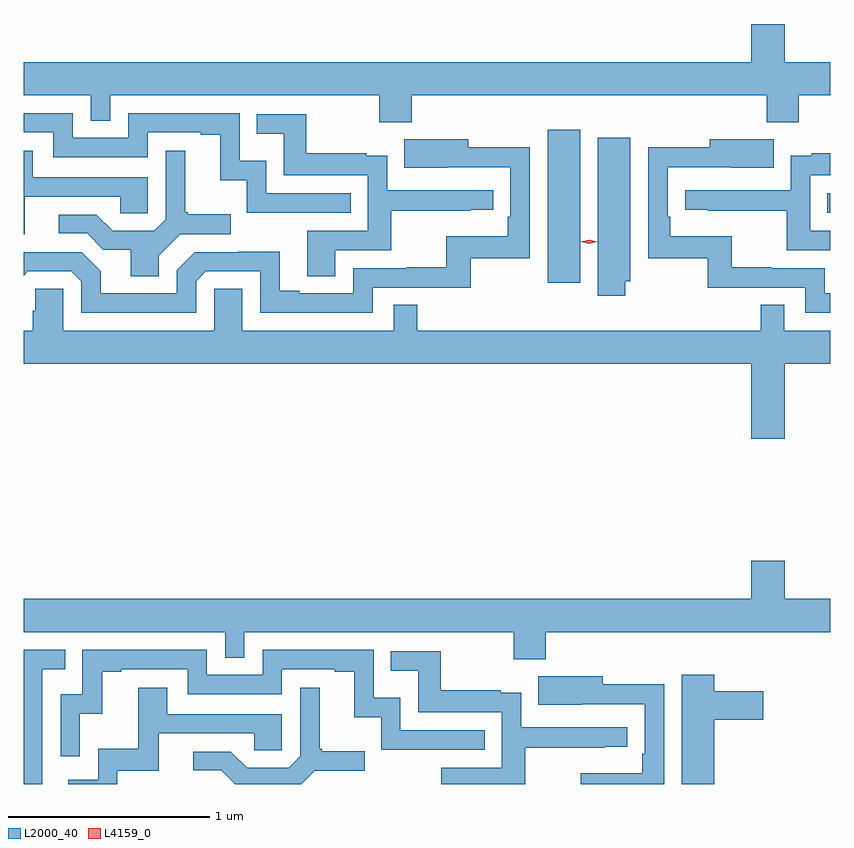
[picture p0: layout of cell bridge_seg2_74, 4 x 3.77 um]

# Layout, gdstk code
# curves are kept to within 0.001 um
import gdstk
lib = gdstk.Library(unit=1e-6, precision=1e-09)
def R(c, l, rs):  # rectangles x0, y0, x1, y1
    for r in rs: c.add(gdstk.rectangle(r[:2], r[2:], *l))
def P(c, l, *ps):  # polygons
    for p in ps: c.add(gdstk.Polygon(p, *l))
L2000_40 = (2000, 40)
L4159_0 = (4159, 0)

bridge_seg2_74 = lib.new_cell('bridge_seg2_74')
R(bridge_seg2_74, L2000_40, [(1135.025,624.06,1135.186,624.82), (1136.413,624.408,1136.426,624.504)])
P(bridge_seg2_74, L2000_40, [(1134.35,624.992),(1136.111,624.992),(1136.111,624.857),(1136.271,624.857),(1136.271,624.992),(1136.426,624.992),(1136.426,625.156),(1136.2,625.156),(1136.2,625.345),(1136.036,625.345),(1136.036,625.156),(1132.426,625.156),(1132.426,624.992),(1132.758,624.992),(1132.758,624.865),(1132.854,624.865),(1132.854,624.992),(1134.19,624.992),(1134.19,624.857),(1134.35,624.857)],
  [(1134.047,624.504),(1133.628,624.504),(1133.628,624.667),(1133.496,624.667),(1133.496,624.903),(1132.944,624.903),(1132.944,624.78),(1132.668,624.78),(1132.668,624.903),(1132.426,624.903),(1132.426,624.807),(1132.572,624.807),(1132.572,624.684),(1133.04,624.684),(1133.04,624.807),(1133.303,624.807),(1133.303,624.795),(1133.399,624.795),(1133.399,624.569),(1133.532,624.569),(1133.532,624.408),(1134.047,624.408)],
  [(1133.971,624.222),(1134.248,624.222),(1134.248,624.418),(1134.641,624.418),(1134.641,624.423),(1134.754,624.423),(1134.754,624.519),(1134.228,624.519),(1134.228,624.691),(1134.125,624.691),(1134.125,624.703),(1133.827,624.703),(1133.827,624.897),(1133.581,624.897),(1133.581,624.8),(1133.716,624.8),(1133.716,624.594),(1134.132,624.594),(1134.132,624.318),(1133.831,624.318),(1133.831,624.094),(1133.971,624.094)],
  [(1135.41,624.068),(1135.435,624.068),(1135.435,624.781),(1135.274,624.781),(1135.274,623.996),(1135.41,623.996)],
  [(1133.28,624.069),(1133.328,624.117),(1133.598,624.117),(1133.598,623.913),(1134.156,623.913),(1134.156,624.036),(1134.643,624.036),(1134.643,624.183),(1134.936,624.183),(1134.936,624.734),(1134.631,624.734),(1134.631,624.772),(1134.313,624.772),(1134.313,624.632),(1134.84,624.633),(1134.84,624.388),(1134.827,624.388),(1134.827,624.292),(1134.522,624.292),(1134.522,624.137),(1134.325,624.137),(1134.325,624.132),(1134.06,624.132),(1134.06,624.009),(1133.791,624.009),(1133.791,624.022),(1133.695,624.022),(1133.695,624.215),(1133.49,624.215),(1133.49,624.213),(1133.274,624.213),(1133.184,624.123),(1133.184,624.009),(1132.807,624.009),(1132.807,624.119),(1132.713,624.213),(1132.426,624.213),(1132.426,624.097),(1132.446,624.117),(1132.662,624.117),(1132.71,624.069),(1132.71,623.913),(1133.28,623.913)],
  [(1136.426,624.009),(1136.4,624.009),(1136.4,624.132),(1136.135,624.132),(1136.135,624.137),(1135.939,624.137),(1135.939,624.292),(1135.634,624.292),(1135.634,624.388),(1135.62,624.388),(1135.62,624.633),(1135.933,624.633),(1135.933,624.632),(1136.147,624.632),(1136.147,624.772),(1135.829,624.772),(1135.829,624.734),(1135.524,624.734),(1135.524,624.183),(1135.818,624.183),(1135.818,624.036),(1136.304,624.036),(1136.304,623.913),(1136.426,623.913)],
  [(1132.429,624.489),(1132.903,624.489),(1132.903,624.405),(1133.04,624.405),(1133.04,624.585),(1132.471,624.585),(1132.471,624.715),(1132.426,624.715),(1132.426,624.303),(1132.429,624.303)],
  [(1133.095,624.196),(1133.202,624.303),(1133.452,624.303),(1133.452,624.4),(1133.239,624.4),(1133.239,624.412),(1133.227,624.412),(1133.227,624.715),(1133.13,624.715),(1133.13,624.375),(1133.073,624.318),(1132.867,624.318),(1132.786,624.399),(1132.599,624.399),(1132.599,624.306),(1132.74,624.306),(1132.82,624.226),(1132.955,624.226),(1132.955,624.094),(1133.095,624.094)],
  [(1136.426,624.318),(1136.328,624.318),(1136.328,624.594),(1136.426,624.594),(1136.426,624.703),(1136.335,624.703),(1136.335,624.691),(1136.232,624.691),(1136.232,624.519),(1135.707,624.519),(1135.707,624.423),(1135.819,624.423),(1135.819,624.418),(1136.212,624.418),(1136.212,624.222),(1136.426,624.222)],
  [(1136.2,623.66),(1136.426,623.66),(1136.426,623.824),(1136.199,623.824),(1136.199,623.951),(1136.083,623.951),(1136.083,623.824),(1134.377,623.824),(1134.377,623.951),(1134.261,623.951),(1134.261,623.824),(1133.509,623.824),(1133.509,624.032),(1133.37,624.032),(1133.37,623.824),(1132.62,623.824),(1132.62,624.032),(1132.483,624.032),(1132.483,623.922),(1132.469,623.922),(1132.469,623.824),(1132.426,623.824),(1132.426,623.66),(1136.036,623.66),(1136.036,623.286),(1136.2,623.286)],
  [(1135.016,622.328),(1136.426,622.328),(1136.426,622.492),(1136.2,622.492),(1136.2,622.681),(1136.036,622.681),(1136.036,622.492),(1132.426,622.492),(1132.426,622.328),(1133.424,622.328),(1133.424,622.201),(1133.52,622.201),(1133.52,622.328),(1134.856,622.328),(1134.856,622.193),(1135.016,622.193)],
  [(1132.518,622.143),(1132.631,622.143),(1132.631,622.239),(1132.426,622.239),(1132.426,621.574),(1132.518,621.574)],
  [(1132.704,621.923),(1132.814,621.923),(1132.814,622.131),(1132.909,622.131),(1132.909,622.143),(1133.238,622.143),(1133.238,622.02),(1133.706,622.02),(1133.706,622.143),(1133.969,622.143),(1133.969,622.131),(1134.065,622.131),(1134.065,621.905),(1134.198,621.905),(1134.198,621.744),(1134.713,621.744),(1134.713,621.84),(1134.294,621.84),(1134.294,622.003),(1134.162,622.003),(1134.162,622.239),(1133.61,622.239),(1133.61,622.116),(1133.334,622.116),(1133.334,622.239),(1132.716,622.239),(1132.716,622.02),(1132.608,622.02),(1132.608,621.711),(1132.704,621.711)],
  [(1134.914,621.754),(1135.307,621.754),(1135.307,621.759),(1135.42,621.759),(1135.42,621.855),(1134.894,621.855),(1134.894,622.027),(1134.791,622.027),(1134.791,622.039),(1134.493,622.039),(1134.493,622.233),(1134.247,622.233),(1134.247,622.136),(1134.382,622.136),(1134.382,621.93),(1134.798,621.93),(1134.798,621.654),(1134.497,621.654),(1134.497,621.574),(1134.914,621.574)],
  [(1135.852,621.893),(1136.095,621.893),(1136.095,622.035),(1135.852,622.035),(1135.852,622.117),(1135.691,622.117),(1135.691,621.574),(1135.852,621.574)],
  [(1135.602,622.07),(1135.297,622.07),(1135.297,622.108),(1134.979,622.108),(1134.979,621.968),(1135.193,621.968),(1135.193,621.969),(1135.506,621.969),(1135.506,621.724),(1135.493,621.724),(1135.493,621.628),(1135.188,621.628),(1135.188,621.574),(1135.602,621.574)],
  [(1132.89,621.639),(1133.095,621.639),(1133.095,621.825),(1133.569,621.825),(1133.569,621.741),(1133.706,621.741),(1133.706,621.921),(1133.137,621.921),(1133.137,622.051),(1132.993,622.051),(1132.993,621.748),(1132.794,621.748),(1132.794,621.594),(1132.647,621.594),(1132.647,621.574),(1132.89,621.574)],
  [(1133.868,621.639),(1134.118,621.639),(1134.118,621.736),(1133.905,621.736),(1133.905,621.748),(1133.893,621.748),(1133.893,622.051),(1133.796,622.051),(1133.796,621.711),(1133.739,621.654),(1133.533,621.654),(1133.452,621.735),(1133.265,621.735),(1133.265,621.642),(1133.406,621.642),(1133.474,621.574),(1133.803,621.574)])
P(bridge_seg2_74, L4159_0, [(1135.23,624.255),(1135.19,624.265),(1135.19,624.265),(1135.19,624.265),(1135.23,624.275),(1135.27,624.265),(1135.27,624.265),(1135.27,624.265)])

lib.write_gds('bridge_seg2_74.gds')
